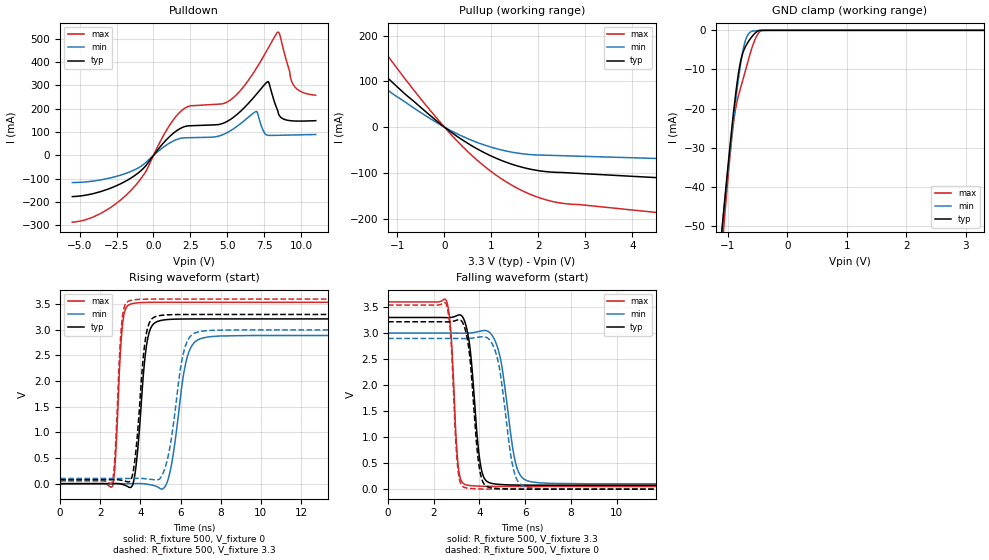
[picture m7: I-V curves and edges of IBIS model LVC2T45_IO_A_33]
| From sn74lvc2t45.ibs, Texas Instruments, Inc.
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[Model]   LVC2T45_IO_A_33
Model_type  I/O
Vinl=0.8
Vinh=2.0
Enable   Active-Low
Vref =   0
Rref =   2000
Cref =   15p
Vmeas =   1.65
| variable   typ   min   max
C_comp   6.32pF   5.51pF   7.50pF
| C_pullup   9.98pF   6.50pF   11.77pF
| C_pulldown   9.24pF   6.97pF   12.89pF
| C_tri-state   6.32pF   5.51pF   7.50pF
[Temperature Range]   40   100   -40
| Ambient temperature   25   85   -40
[Voltage range]   3.3   3   3.6
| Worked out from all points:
|   slope of the pulldown table from 0 to 0.495 V, typ, clamps not added: 12.4 ohm
|   slope of the pullup table from 0 to 0.495 V, typ, clamps not added: 14 ohm
|   GND clamp passes 1 mA (typ) near -0.56 V on its own axis
|   rising waveform, R_fixture 500, V_fixture 0: 20-80 % time 401ps typ, 601ps min, 261ps max; typ from 0 V to 3.21 V
|   falling waveform, R_fixture 500, V_fixture 3.3: 20-80 % time 366ps typ, 540ps min, 240ps max; typ from 3.3 V to 0.076 V
|   rising waveform, R_fixture 500, V_fixture 3.3: 20-80 % time 399ps typ, 620ps min, 256ps max; typ from 0.076 V to 3.3 V
|   falling waveform, R_fixture 500, V_fixture 0: 20-80 % time 356ps typ, 522ps min, 235ps max; typ from 3.22 V to 0 V
[GND Clamp]
| LVC2T45_IO_A_33
|   Voltage   I(typ)   I(min)   I(max)
-5.5V     -897.8mA   -832.4mA   -1.016A
-1.095V   -50.33mA   -50.14mA   -55.16mA
-1.065V   -45.41mA   -45.59mA   -49.63mA
-980mV    -31.93mA   -33.06mA   -34.73mA
-915mV    -22.35mA   -24.01mA   -24.95mA
-860mV    -15.14mA   -16.88mA   -19.23mA
-790mV    -8.202mA   -8.982mA   -14.91mA
-735mV    -5.197mA   -4.32mA    -11.95mA
-675mV    -3.353mA   -1.432mA   -8.641mA
-555mV    -899.1uA   -138.8uA   -2.764mA
-450mV    -10.12uA   -45.73uA   -166.1uA
3.3V      26.73pA    99.19nA    342.1pA
[Pulldown]
| LVC2T45_IO_A_33
|   Voltage   I(typ)   I(min)   I(max)
-5.5V     -176.6mA   -116.3mA   -286.2mA
-3.53V    -154.2mA   -104.5mA   -247.2mA
-1.57V    -98.77mA   -69.92mA   -152.8mA
-560mV    -47.37mA   -32.64mA   -73.96mA
855mV     65.58mA    43.47mA    104.9mA
1.94V     119.2mA    74.38mA    193.6mA
5.03V     146.8mA    98.74mA    229.8mA
6.955V    260.1mA    188.1mA    371mA
7.745V    316.2mA    86.28mA    455.8mA
8.425V    191.5mA    86.11mA    528.1mA
9.48V     147.7mA    87.47mA    302.7mA
11V       148.7mA    89.5mA     257.6mA
[Pullup]
| LVC2T45_IO_A_33
|   Voltage   I(typ)   I(min)   I(max)
-5.5V     590.6mA    464.6mA    827.6mA
-2.91V    287.5mA    221.8mA    409mA
-2.3V     220.4mA    168.8mA    315.4mA
-1.73V    160.2mA    121.6mA    230.7mA
-1.62V    148.9mA    112.8mA    214.8mA
-475mV    40.62mA    29.94mA    58.29mA
465mV     -33.42mA   -23.81mA   -50.48mA
940mV     -60.5mA    -42.11mA   -92.84mA
1.355V    -78.3mA    -53.14mA   -122.2mA
2.205V    -97.75mA   -61.55mA   -160.3mA
7.39V     -126.6mA   -77.28mA   -216.8mA
11V       -146.9mA   -88.25mA   -254.9mA
[Ramp]
| LVC2T45_IO_A_33
| variable   typ   min   max
dV/dt_r   1.97/4.18E-10   1.80/6.28E-10   2.16/2.70E-10
dV/dt_f   1.96/3.77E-10   1.77/5.56E-10   2.16/2.50E-10
R_load = 500
[Rising Waveform]
| LVC2T45_IO_A_33
R_fixture =   500
C_fixture =   0
L_fixture =   0
V_fixture =   0
V_fixture_min = 0
V_fixture_max = 0
|   Time   V(typ)   V(min)   V(max)
0s        188.9pV    5.764nV    2.298nV
2.61ns    780.5uV    29.82uV    -47.9mV
3.11ns    -15.41mV   -57.1uV    3.112V
3.61ns    -27.85mV   1.152mV    3.512V
4.33ns    2.762V     -10.01mV   3.535V
4.985ns   3.18V      -94.3mV    3.537V
5.5ns     3.204V     278.1mV    3.537V
6.345ns   3.212V     2.488V     3.537V
7.18ns    3.213V     2.848V     3.537V
40ns      3.213V     2.89V      3.537V
[Falling Waveform]
| LVC2T45_IO_A_33
R_fixture =   500
C_fixture =   0
L_fixture =   0
V_fixture =   3.3
V_fixture_min = 3
V_fixture_max = 3.6
|   Time   V(typ)   V(min)   V(max)
0s        3.3V       3V         3.6V
2.55ns    3.297V     3V         3.625V
2.75ns    3.301V     3V         3.02V
3.075ns   3.347V     2.998V     430.8mV
3.475ns   3.023V     2.998V     77.53mV
4.035ns   498.9mV    3.038V     57.13mV
4.565ns   108.2mV    2.951V     53.49mV
5.605ns   79.51mV    463.9mV    52.32mV
6.285ns   76.96mV    139.6mV    52.22mV
40ns      75.84mV    101.7mV    52.11mV
[Rising Waveform]
| LVC2T45_IO_A_33
R_fixture =   500
C_fixture =   0
L_fixture =   0
V_fixture =   3.3
V_fixture_min = 3
V_fixture_max = 3.6
|   Time   V(typ)   V(min)   V(max)
0s        75.82mV    101.6mV    52.09mV
2.595ns   76.47mV    101.7mV    29.18mV
3.075ns   64.86mV    101.6mV    3.159V
3.53ns    73.55mV    102.3mV    3.575V
4.265ns   2.861V     95.11mV    3.598V
4.865ns   3.271V     77.87mV    3.6V
5.405ns   3.293V     583.1mV    3.6V
6.19ns    3.299V     2.619V     3.6V
6.915ns   3.3V       2.964V     3.6V
40ns      3.3V       3V         3.6V
[Falling Waveform]
| LVC2T45_IO_A_33
R_fixture =   500
C_fixture =   0
L_fixture =   0
V_fixture =   0
V_fixture_min = 0
V_fixture_max = 0
|   Time   V(typ)   V(min)   V(max)
0s        3.218V     2.897V     3.539V
2.545ns   3.215V     2.897V     3.556V
2.74ns    3.219V     2.897V     2.953V
3.055ns   3.255V     2.896V     387.4mV
3.425ns   2.983V     2.895V     23.39mV
3.995ns   411.7mV    2.924V     4.248mV
4.495ns   27.46mV    2.84V      1.22mV
5.5ns     2.823mV    362.9mV    206.6uV
6.115ns   882.6uV    31.88mV    121.8uV
40ns      27.33uV    38.4uV     15.79uV
